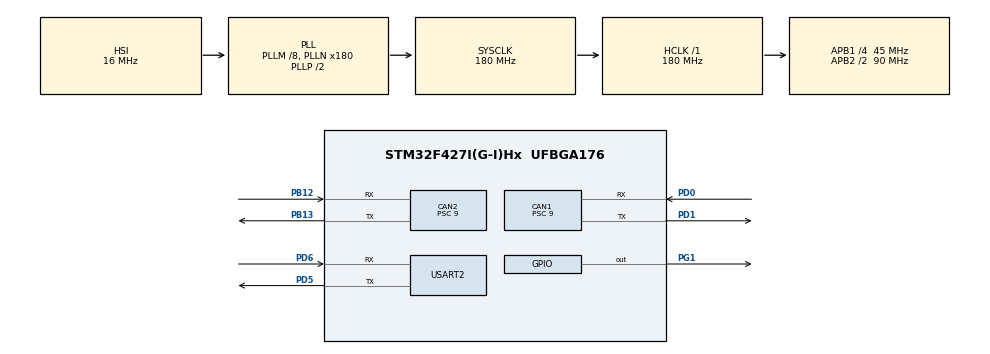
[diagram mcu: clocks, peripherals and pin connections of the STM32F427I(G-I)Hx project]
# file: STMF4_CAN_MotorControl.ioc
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CAN1.ABOM=ENABLE
CAN1.BS1=CAN_BS1_2TQ
CAN1.BS2=CAN_BS2_2TQ
CAN1.CalculateBaudRate=1000000
CAN1.CalculateTimeBit=1000
CAN1.CalculateTimeQuantum=200.0
CAN1.Prescaler=9
CAN2.ABOM=ENABLE
CAN2.BS1=CAN_BS1_2TQ
CAN2.BS2=CAN_BS2_2TQ
CAN2.CalculateBaudRate=1000000
CAN2.CalculateTimeBit=1000
CAN2.CalculateTimeQuantum=200.0
CAN2.Prescaler=9
Dma.Request0=USART2_RX
Dma.Request1=USART2_TX
Dma.USART2_RX.0.Direction=DMA_PERIPH_TO_MEMORY
Dma.USART2_RX.0.FIFOMode=DMA_FIFOMODE_DISABLE
Dma.USART2_RX.0.Instance=DMA1_Stream5
Dma.USART2_RX.0.MemDataAlignment=DMA_MDATAALIGN_BYTE
Dma.USART2_RX.0.MemInc=DMA_MINC_ENABLE
Dma.USART2_RX.0.Mode=DMA_NORMAL
Dma.USART2_RX.0.PeriphDataAlignment=DMA_PDATAALIGN_BYTE
Dma.USART2_RX.0.PeriphInc=DMA_PINC_DISABLE
Dma.USART2_RX.0.Priority=DMA_PRIORITY_LOW
Dma.USART2_TX.1.Direction=DMA_MEMORY_TO_PERIPH
Dma.USART2_TX.1.FIFOMode=DMA_FIFOMODE_DISABLE
Dma.USART2_TX.1.Instance=DMA1_Stream6
Dma.USART2_TX.1.MemDataAlignment=DMA_MDATAALIGN_BYTE
Dma.USART2_TX.1.MemInc=DMA_MINC_ENABLE
Dma.USART2_TX.1.Mode=DMA_NORMAL
Dma.USART2_TX.1.PeriphDataAlignment=DMA_PDATAALIGN_BYTE
Dma.USART2_TX.1.PeriphInc=DMA_PINC_DISABLE
Dma.USART2_TX.1.Priority=DMA_PRIORITY_LOW
Mcu.Family=STM32F4
Mcu.Name=STM32F427I(G-I)Hx
Mcu.Package=UFBGA176
NVIC.CAN1_RX0_IRQn=true\:0\:0\:false\:false\:true\:true\:true\:true
NVIC.CAN1_RX1_IRQn=true\:0\:0\:false\:false\:true\:true\:true\:true
NVIC.CAN2_RX0_IRQn=true\:0\:0\:false\:false\:true\:true\:true\:true
NVIC.CAN2_RX1_IRQn=true\:0\:0\:false\:false\:true\:true\:true\:true
NVIC.DMA1_Stream5_IRQn=true\:0\:0\:false\:false\:true\:false\:true\:true
NVIC.DMA1_Stream6_IRQn=true\:0\:0\:false\:false\:true\:false\:true\:true
NVIC.PriorityGroup=NVIC_PRIORITYGROUP_4
PA13.Mode=Serial_Wire
PA13.Signal=SYS_JTMS-SWDIO
PA14.Mode=Serial_Wire
PA14.Signal=SYS_JTCK-SWCLK
PB12.Mode=CAN_Activate
PB12.Signal=CAN2_RX
PB13.Mode=CAN_Activate
PB13.Signal=CAN2_TX
PD0.Mode=CAN_Activate
PD0.Signal=CAN1_RX
PD1.Mode=CAN_Activate
PD1.Signal=CAN1_TX
PD5.Mode=Asynchronous
PD5.Signal=USART2_TX
PD6.Mode=Asynchronous
PD6.Signal=USART2_RX
PG1.GPIO_PuPd=GPIO_PULLUP
PG1.PinState=GPIO_PIN_SET
PG1.Signal=GPIO_Output
PH0/OSC_IN.Mode=HSE-External-Oscillator
PH0/OSC_IN.Signal=RCC_OSC_IN
PH1/OSC_OUT.Mode=HSE-External-Oscillator
PH1/OSC_OUT.Signal=RCC_OSC_OUT
ProjectManager.HeapSize=0x200
ProjectManager.StackSize=0x400
ProjectManager.TargetToolchain=CMake
RCC.48MHZClocksFreq_Value=90000000
RCC.AHBFreq_Value=180000000
RCC.APB1CLKDivider=RCC_HCLK_DIV4
RCC.APB1Freq_Value=45000000
RCC.APB1TimFreq_Value=90000000
RCC.APB2CLKDivider=RCC_HCLK_DIV2
RCC.APB2Freq_Value=90000000
RCC.APB2TimFreq_Value=180000000
RCC.CortexFreq_Value=180000000
RCC.HCLKFreq_Value=180000000
RCC.HSE_VALUE=12000000
RCC.HSI_VALUE=16000000
RCC.LSE_VALUE=32768
RCC.PLLM=8
RCC.PLLN=180
RCC.SYSCLKFreq_VALUE=180000000
RCC.SYSCLKSource=RCC_SYSCLKSOURCE_PLLCLK
RCC.VCOOutputFreq_Value=360000000
USART2.VirtualMode=VM_ASYNC
board=custom

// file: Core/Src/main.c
/* USER CODE BEGIN Header */
/**
  ******************************************************************************
  * @file           : main.c
  * @brief          : Main program body
  ******************************************************************************
  * @attention
  *
  * Copyright (c) 2026 STMicroelectronics.
  * All rights reserved.
  *
  * This software is licensed under terms that can be found in the LICENSE file
  * in the root directory of this software component.
  * If no LICENSE file comes with this software, it is provided AS-IS.
  *
  ******************************************************************************
  */
/* USER CODE END Header */
#include "main.h"
#include "can.h"
#include "dma.h"
#include "usart.h"
#include "gpio.h"

/* USER CODE BEGIN Includes */

#include "drv_can.h"
#include "drv_bsp.h"
#include "Callback.h"
#include "SerialPlot.h"
#include "Uart.h"

/* USER CODE END Includes */

/* USER CODE BEGIN PM */

char *rx_variable_list[] = {"torque"};
float torque = 0;

/* USER CODE END PM */

void SystemClock_Config(void);

int main(void)
{

  /* MCU Configuration--------------------------------------------------------*/

  /* Reset of all peripherals, Initializes the Flash interface and the Systick. */
  HAL_Init();

  /* Configure the system clock */
  SystemClock_Config();

  /* Initialize all configured peripherals */
  MX_GPIO_Init();
  MX_DMA_Init();
  MX_CAN1_Init();
  MX_CAN2_Init();
  MX_USART2_UART_Init();
  /* USER CODE BEGIN 2 */

  CAN_Init(&hcan1, NULL);  /* 初始化CAN1 */
  CAN_Filter_Mask_Config(&hcan1, CAN_FILTER(0) | CAN_FIFO_0 | CAN_STDID | CAN_DATA_TYPE, 0x201, 0x7ff);  /* 配置CAN1过滤器0 */

  UART_Init(&huart2, UART2_Tx_Buffer, UART_TX_BUFFER_SIZE, UART2_Rx_Buffer, UART_RX_BUFFER_SIZE, UART2_Callback);  /* 初始化UART2 */
  Serialplot_Init(&Serialplot2, &huart2, 1, rx_variable_list, Serialplot_Data_Type_FLOAT, 0xAA);
  Serialplot_Set_Data(&Serialplot2, 1, &torque);

  /* USER CODE END 2 */

  /* Infinite loop */
  /* USER CODE BEGIN WHILE */
  while (1)
  {

    uint8_t data[8] = {0};
    data[0] = ((uint16_t)torque >> 8);
    data[1] = (uint16_t)torque;
    CAN_Send_Data(&hcan1, 0x200, data, 8);

    Serialplot_Set_Data(&Serialplot2, 1, &torque);
    Serialplot_TIM_Callback(&Serialplot2);  /* 打包 + 发送，一步完成 */
    HAL_Delay(100);
    /* USER CODE END WHILE */

  }
}

void SystemClock_Config(void)
{
  RCC_OscInitTypeDef RCC_OscInitStruct = {0};
  RCC_ClkInitTypeDef RCC_ClkInitStruct = {0};

  /** Configure the main internal regulator output voltage
  */
  __HAL_RCC_PWR_CLK_ENABLE();
  __HAL_PWR_VOLTAGESCALING_CONFIG(PWR_REGULATOR_VOLTAGE_SCALE1);

  /** Initializes the RCC Oscillators according to the specified parameters
  * in the RCC_OscInitTypeDef structure.
  */
  RCC_OscInitStruct.OscillatorType = RCC_OSCILLATORTYPE_HSI;
  RCC_OscInitStruct.HSIState = RCC_HSI_ON;
  RCC_OscInitStruct.HSICalibrationValue = RCC_HSICALIBRATION_DEFAULT;
  RCC_OscInitStruct.PLL.PLLState = RCC_PLL_ON;
  RCC_OscInitStruct.PLL.PLLSource = RCC_PLLSOURCE_HSI;
  RCC_OscInitStruct.PLL.PLLM = 8;
  RCC_OscInitStruct.PLL.PLLN = 180;
  RCC_OscInitStruct.PLL.PLLP = RCC_PLLP_DIV2;
  RCC_OscInitStruct.PLL.PLLQ = 4;
  if (HAL_RCC_OscConfig(&RCC_OscInitStruct) != HAL_OK)
  {
    Error_Handler();
  }

  /** Activate the Over-Drive mode
  */
  if (HAL_PWREx_EnableOverDrive() != HAL_OK)
  {
    Error_Handler();
  }

  /** Initializes the CPU, AHB and APB buses clocks
  */
  RCC_ClkInitStruct.ClockType = RCC_CLOCKTYPE_HCLK|RCC_CLOCKTYPE_SYSCLK
                              |RCC_CLOCKTYPE_PCLK1|RCC_CLOCKTYPE_PCLK2;
  RCC_ClkInitStruct.SYSCLKSource = RCC_SYSCLKSOURCE_PLLCLK;
  RCC_ClkInitStruct.AHBCLKDivider = RCC_SYSCLK_DIV1;
  RCC_ClkInitStruct.APB1CLKDivider = RCC_HCLK_DIV4;
  RCC_ClkInitStruct.APB2CLKDivider = RCC_HCLK_DIV2;

  if (HAL_RCC_ClockConfig(&RCC_ClkInitStruct, FLASH_LATENCY_5) != HAL_OK)
  {
    Error_Handler();
  }
}

void Error_Handler(void)
{
  __disable_irq();
  while (1)
  {
  }
}
